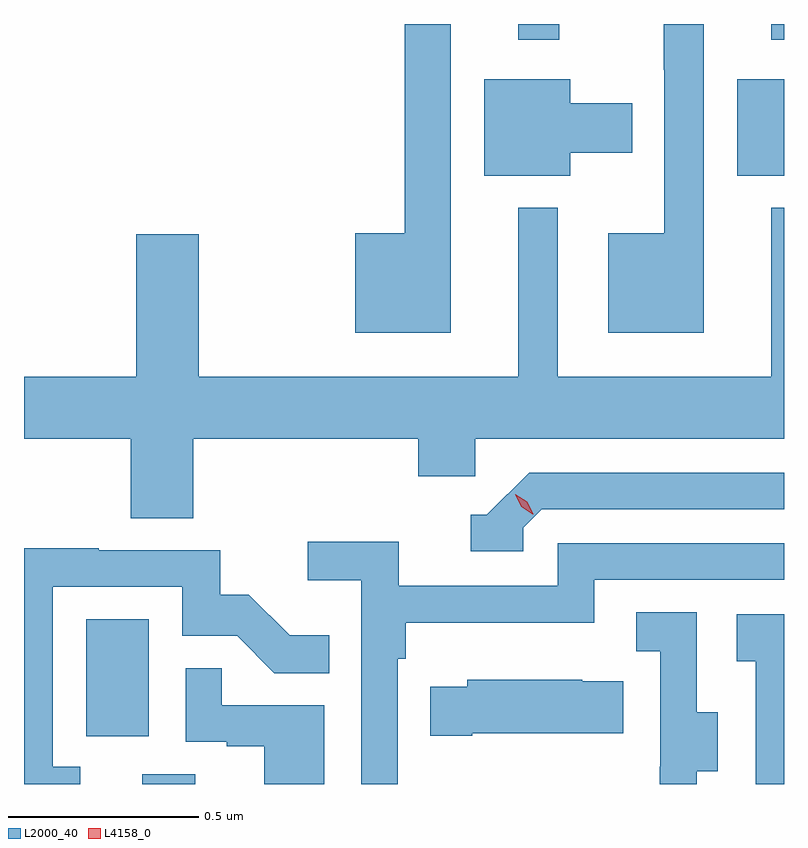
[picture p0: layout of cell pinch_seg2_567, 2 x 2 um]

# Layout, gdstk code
import gdstk
lib = gdstk.Library(unit=1e-6, precision=1e-09)
def R(c, l, rs):  # rectangles x0, y0, x1, y1
    for r in rs: c.add(gdstk.rectangle(r[:2], r[2:], *l))
def P(c, l, *ps):  # polygons
    for p in ps: c.add(gdstk.Polygon(p, *l))
L2000_40 = (2000, 40)
L4158_0 = (4158, 0)

pinch_seg2_567 = lib.new_cell('pinch_seg2_567')
R(pinch_seg2_567, L2000_40, [(1142.045,609.432,1142.185,609.458), (1141.898,609.558,1142.062,609.865), (1143.611,611.033,1143.734,611.287), (1143.035,611.391,1143.142,611.432), (1143.701,611.391,1143.734,611.432)])
P(pinch_seg2_567, L2000_40, [(1143.523,611.432),(1143.417,611.432),(1143.417,611.311),(1143.419,611.311),(1143.419,610.882),(1143.272,610.882),(1143.272,610.619),(1143.523,610.619)],
  [(1142.857,611.432),(1142.736,611.432),(1142.736,610.882),(1142.606,610.882),(1142.606,610.619),(1142.857,610.619)],
  [(1143.172,611.093),(1143.334,611.093),(1143.334,611.223),(1143.172,611.223),(1143.172,611.287),(1142.945,611.287),(1142.945,611.033),(1143.172,611.033)],
  [(1142.18,610.34),(1142.771,610.34),(1142.771,610.242),(1142.922,610.242),(1142.922,610.34),(1143.734,610.34),(1143.734,610.948),(1143.701,610.948),(1143.701,610.504),(1143.139,610.504),(1143.139,610.948),(1143.035,610.948),(1143.035,610.504),(1142.194,610.504),(1142.194,610.879),(1142.03,610.879),(1142.03,610.504),(1141.734,610.504),(1141.734,610.34),(1142.015,610.34),(1142.015,610.132),(1142.18,610.132)],
  [(1143.048,610.107),(1143.096,610.155),(1143.734,610.155),(1143.734,610.251),(1143.063,610.251),(1142.952,610.14),(1142.909,610.14),(1142.909,610.044),(1143.048,610.044)],
  [(1142.718,609.761),(1142.738,609.761),(1142.738,609.857),(1143.234,609.857),(1143.234,609.969),(1143.734,609.969),(1143.734,610.065),(1143.138,610.065),(1143.138,609.954),(1142.72,609.954),(1142.72,610.07),(1142.481,610.07),(1142.481,609.968),(1142.622,609.968),(1142.622,609.432),(1142.718,609.432)],
  [(1141.882,609.477),(1141.809,609.477),(1141.809,609.951),(1142.151,609.951),(1142.151,609.822),(1142.295,609.822),(1142.393,609.724),(1142.537,609.724),(1142.537,609.823),(1142.433,609.823),(1142.326,609.93),(1142.25,609.93),(1142.25,610.047),(1141.931,610.047),(1141.931,610.052),(1141.734,610.052),(1141.734,609.432),(1141.882,609.432)],
  [(1143.505,609.466),(1143.559,609.466),(1143.559,609.621),(1143.504,609.621),(1143.504,609.884),(1143.345,609.884),(1143.345,609.781),(1143.408,609.781),(1143.408,609.477),(1143.407,609.477),(1143.407,609.432),(1143.505,609.432)],
  [(1143.734,609.879),(1143.609,609.879),(1143.609,609.755),(1143.66,609.755),(1143.66,609.432),(1143.734,609.432)],
  [(1142.524,609.639),(1142.255,609.639),(1142.255,609.737),(1142.16,609.737),(1142.16,609.543),(1142.267,609.543),(1142.267,609.531),(1142.366,609.531),(1142.366,609.432),(1142.524,609.432)],
  [(1142.914,609.566),(1143.311,609.566),(1143.311,609.703),(1143.203,609.703),(1143.203,609.706),(1142.901,609.706),(1142.901,609.688),(1142.803,609.688),(1142.803,609.559),(1142.914,609.559)])
P(pinch_seg2_567, L4158_0, [(1143.073,610.142),(1143.043,610.162),(1143.027,610.195),(1143.027,610.195),(1143.027,610.195),(1143.058,610.175),(1143.074,610.142),(1143.074,610.142)])

lib.write_gds('pinch_seg2_567.gds')
